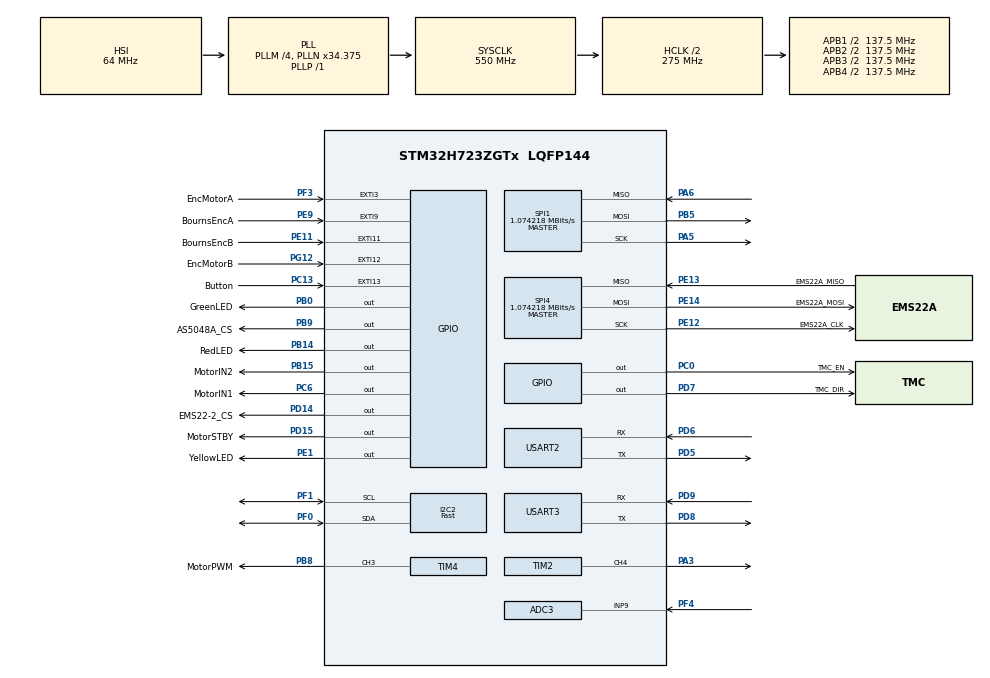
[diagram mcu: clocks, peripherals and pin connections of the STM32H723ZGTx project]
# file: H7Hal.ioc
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ADC3.Channel-6\#ChannelRegularConversion=ADC_CHANNEL_9
ADC3.ContinuousConvMode=ENABLE
ADC3.ConversionDataManagement=ADC_CONVERSIONDATA_DMA_CIRCULAR
ADC3.DMAContinuousRequests=ENABLE
ADC3.NbrOfConversionFlag=1
ADC3.OffsetNumber-6\#ChannelRegularConversion=ADC_OFFSET_NONE
ADC3.OffsetSign-6\#ChannelRegularConversion=ADC3_OFFSET_SIGN_NEGATIVE
ADC3.Rank-6\#ChannelRegularConversion=1
ADC3.SamplingTime-6\#ChannelRegularConversion=ADC3_SAMPLETIME_2CYCLES_5
CORTEX_M7.default_mode_Activation=1
Dma.ADC3.0.Direction=DMA_PERIPH_TO_MEMORY
Dma.ADC3.0.EventEnable=DISABLE
Dma.ADC3.0.FIFOMode=DMA_FIFOMODE_DISABLE
Dma.ADC3.0.Instance=DMA1_Stream0
Dma.ADC3.0.MemDataAlignment=DMA_MDATAALIGN_HALFWORD
Dma.ADC3.0.MemInc=DMA_MINC_ENABLE
Dma.ADC3.0.Mode=DMA_CIRCULAR
Dma.ADC3.0.PeriphDataAlignment=DMA_PDATAALIGN_HALFWORD
Dma.ADC3.0.PeriphInc=DMA_PINC_DISABLE
Dma.ADC3.0.Polarity=HAL_DMAMUX_REQ_GEN_RISING
Dma.ADC3.0.Priority=DMA_PRIORITY_LOW
Dma.ADC3.0.RequestNumber=1
Dma.ADC3.0.SignalID=NONE
Dma.ADC3.0.SyncEnable=DISABLE
Dma.ADC3.0.SyncPolarity=HAL_DMAMUX_SYNC_NO_EVENT
Dma.ADC3.0.SyncRequestNumber=1
Dma.ADC3.0.SyncSignalID=NONE
Dma.Request0=ADC3
Dma.Request1=TIM2_CH4
Dma.TIM2_CH4.1.Direction=DMA_MEMORY_TO_PERIPH
Dma.TIM2_CH4.1.EventEnable=DISABLE
Dma.TIM2_CH4.1.FIFOMode=DMA_FIFOMODE_DISABLE
Dma.TIM2_CH4.1.Instance=DMA1_Stream1
Dma.TIM2_CH4.1.MemDataAlignment=DMA_MDATAALIGN_HALFWORD
Dma.TIM2_CH4.1.MemInc=DMA_MINC_ENABLE
Dma.TIM2_CH4.1.Mode=DMA_NORMAL
Dma.TIM2_CH4.1.PeriphDataAlignment=DMA_PDATAALIGN_HALFWORD
Dma.TIM2_CH4.1.PeriphInc=DMA_PINC_DISABLE
Dma.TIM2_CH4.1.Polarity=HAL_DMAMUX_REQ_GEN_RISING
Dma.TIM2_CH4.1.Priority=DMA_PRIORITY_LOW
Dma.TIM2_CH4.1.RequestNumber=1
Dma.TIM2_CH4.1.SignalID=NONE
Dma.TIM2_CH4.1.SyncEnable=DISABLE
Dma.TIM2_CH4.1.SyncPolarity=HAL_DMAMUX_SYNC_NO_EVENT
Dma.TIM2_CH4.1.SyncRequestNumber=1
Dma.TIM2_CH4.1.SyncSignalID=NONE
I2C2.CustomTiming=Disabled
I2C2.I2C_Fall_Time=20
I2C2.I2C_Rise_Time=100
I2C2.I2C_Speed_Mode=I2C_Fast
I2C2.Timing=0x10D02475
Mcu.Family=STM32H7
Mcu.Name=STM32H723ZGTx
Mcu.Package=LQFP144
NUCLEO-H723ZG.LD1=false
NUCLEO-H723ZG.LD3=false
NVIC.ADC3_IRQn=true\:0\:0\:false\:false\:true\:true\:true\:true
NVIC.DMA1_Stream0_IRQn=true\:0\:0\:false\:false\:true\:false\:true\:true
NVIC.DMA1_Stream1_IRQn=true\:0\:0\:false\:false\:true\:false\:true\:true
NVIC.EXTI15_10_IRQn=true\:0\:0\:false\:false\:true\:true\:true\:true
NVIC.EXTI3_IRQn=true\:0\:0\:false\:false\:true\:true\:true\:true
NVIC.EXTI9_5_IRQn=true\:0\:0\:false\:false\:true\:true\:true\:true
NVIC.PriorityGroup=NVIC_PRIORITYGROUP_4
PA13(JTMS/SWDIO).GPIO_Label=SWDIO
PA13(JTMS/SWDIO).Mode=Trace_Asynchronous_SW
PA13(JTMS/SWDIO).Signal=DEBUG_JTMS-SWDIO
PA14(JTCK/SWCLK).GPIO_Label=SWCLK
PA14(JTCK/SWCLK).Mode=Trace_Asynchronous_SW
PA14(JTCK/SWCLK).Signal=DEBUG_JTCK-SWCLK
PA3.GPIO_ModeDefaultPP=GPIO_MODE_AF_PP
PA3.GPIO_PuPd=GPIO_NOPULL
PA3.GPIO_Speed=GPIO_SPEED_FREQ_VERY_HIGH
PA3.Signal=S_TIM2_CH4
PA5.Mode=Full_Duplex_Master
PA5.Signal=SPI1_SCK
PA6.Mode=Full_Duplex_Master
PA6.Signal=SPI1_MISO
PB0.GPIO_Label=GreenLED
PB0.Signal=GPIO_Output
PB14.GPIO_Label=RedLED
PB14.Signal=GPIO_Output
PB15.GPIO_Label=MotorIN2
PB15.Signal=GPIO_Output
PB3(JTDO/TRACESWO).Mode=Trace_Asynchronous_SW
PB3(JTDO/TRACESWO).Signal=DEBUG_JTDO-SWO
PB5.Mode=Full_Duplex_Master
PB5.Signal=SPI1_MOSI
PB8.GPIO_Label=MotorPWM
PB8.Signal=S_TIM4_CH3
PB9.GPIO_Label=AS5048A_CS
PB9.PinState=GPIO_PIN_SET
PB9.Signal=GPIO_Output
PC0.GPIO_Label=TMC_EN
PC0.Signal=GPIO_Output
PC13.GPIO_Label=Button
PC13.GPIO_PuPd=GPIO_PULLDOWN
PC13.Signal=GPXTI13
PC14-OSC32_IN.Signal=RCC_OSC32_IN
PC15-OSC32_OUT.Signal=RCC_OSC32_OUT
PC6.GPIO_Label=MotorIN1
PC6.Signal=GPIO_Output
PD14.GPIO_Label=EMS22-2_CS
PD14.PinState=GPIO_PIN_SET
PD14.Signal=GPIO_Output
PD15.GPIO_Label=MotorSTBY
PD15.Signal=GPIO_Output
PD5.Mode=Asynchronous
PD5.Signal=USART2_TX
PD6.Mode=Asynchronous
PD6.Signal=USART2_RX
PD7.GPIO_Label=TMC_DIR
PD7.Signal=GPIO_Output
PD8.Mode=Asynchronous
PD8.Signal=USART3_TX
PD9.Mode=Asynchronous
PD9.Signal=USART3_RX
PE1.GPIO_Label=YellowLED
PE1.Signal=GPIO_Output
PE11.GPIO_Label=BournsEncB
PE11.GPIO_ModeDefaultEXTI=GPIO_MODE_IT_RISING_FALLING
PE11.GPIO_PuPd=GPIO_PULLDOWN
PE11.Signal=GPXTI11
PE12.GPIO_Label=EMS22A_CLK
PE12.Mode=Full_Duplex_Master
PE12.Signal=SPI4_SCK
PE13.GPIO_Label=EMS22A_MISO
PE13.Mode=Full_Duplex_Master
PE13.Signal=SPI4_MISO
PE14.GPIO_Label=EMS22A_MOSI
PE14.Mode=Full_Duplex_Master
PE14.Signal=SPI4_MOSI
PE9.GPIO_Label=BournsEncA
PE9.GPIO_ModeDefaultEXTI=GPIO_MODE_IT_RISING_FALLING
PE9.GPIO_PuPd=GPIO_PULLDOWN
PE9.Signal=GPXTI9
PF0.Mode=I2C
PF0.Signal=I2C2_SDA
PF1.Mode=I2C
PF1.Signal=I2C2_SCL
PF3.GPIO_Label=EncMotorA
PF3.GPIO_ModeDefaultEXTI=GPIO_MODE_IT_RISING_FALLING
PF3.GPIO_PuPd=GPIO_PULLDOWN
PF3.Signal=GPXTI3
PF4.Mode=IN9-Single-Ended
PF4.Signal=ADC3_INP9
PG12.GPIO_Label=EncMotorB
PG12.GPIO_ModeDefaultEXTI=GPIO_MODE_IT_RISING_FALLING
PG12.GPIO_PuPd=GPIO_PULLDOWN
PG12.Signal=GPXTI12
ProjectManager.HeapSize=0x200
ProjectManager.StackSize=0x400
ProjectManager.TargetToolchain=CMake
RCC.ADCFreq_Value=96000000
RCC.APB1Freq_Value=137500000
RCC.APB2Freq_Value=137500000
RCC.APB3Freq_Value=137500000
RCC.APB4Freq_Value=137500000
RCC.CortexFreq_Value=550000000
RCC.D1PPRE=RCC_APB3_DIV2
RCC.D2PPRE1=RCC_APB1_DIV2
RCC.D2PPRE2=RCC_APB2_DIV2
RCC.D3PPRE=RCC_APB4_DIV2
RCC.DIVM1=4
RCC.DIVM2=4
RCC.DIVN1=34
RCC.DIVN2=12
RCC.DIVP1=1
RCC.DIVQ1=4
RCC.HCLKFreq_Value=275000000
RCC.HPRE=RCC_HCLK_DIV2
RCC.HSE_VALUE=8000000
RCC.PLL2FRACN=0
RCC.PLL3FRACN=0
RCC.PLLFRACN=3072
RCC.SYSCLKFreq_VALUE=550000000
RCC.SYSCLKSource=RCC_SYSCLKSOURCE_PLLCLK
RCC.USBCLockSelection=RCC_USBCLKSOURCE_HSI48
RCC.USBFreq_Value=48000000
SH.S_TIM2_CH4.0=TIM2_CH4,Output Compare4 CH4
SH.S_TIM4_CH3.0=TIM4_CH3,PWM Generation3 CH3
SPI1.BaudRatePrescaler=SPI_BAUDRATEPRESCALER_128
SPI1.CLKPhase=SPI_PHASE_2EDGE
SPI1.CLKPolarity=SPI_POLARITY_LOW
SPI1.CalculateBaudRate=1.074218 MBits/s
SPI1.DataSize=SPI_DATASIZE_16BIT
SPI1.Direction=SPI_DIRECTION_2LINES
SPI1.MasterKeepIOState=SPI_MASTER_KEEP_IO_STATE_ENABLE
SPI1.Mode=SPI_MODE_MASTER
SPI1.NSSPMode=SPI_NSS_PULSE_DISABLE
SPI1.VirtualType=VM_MASTER
SPI4.BaudRatePrescaler=SPI_BAUDRATEPRESCALER_128
SPI4.CLKPhase=SPI_PHASE_2EDGE
SPI4.CLKPolarity=SPI_POLARITY_HIGH
SPI4.CalculateBaudRate=1.074218 MBits/s
SPI4.DataSize=SPI_DATASIZE_16BIT
SPI4.Direction=SPI_DIRECTION_2LINES
SPI4.MasterKeepIOState=SPI_MASTER_KEEP_IO_STATE_ENABLE
SPI4.Mode=SPI_MODE_MASTER
SPI4.NSSPMode=SPI_NSS_PULSE_DISABLE
SPI4.VirtualType=VM_MASTER
TIM2.AutoReloadPreload=TIM_AUTORELOAD_PRELOAD_ENABLE
TIM2.Channel-Output\ Compare4\ CH4=TIM_CHANNEL_4
TIM2.OC4Preload=DISABLE
TIM2.OCMode_4=TIM_OCMODE_TOGGLE
TIM2.Period=1017
TIM2.Prescaler=26
TIM2.Pulse-Output\ Compare4\ CH4=509
TIM2.TIM_MasterOutputTrigger=TIM_TRGO_RESET
TIM4.AutoReloadPreload=TIM_AUTORELOAD_PRELOAD_DISABLE
TIM4.Channel-PWM\ Generation3\ CH3=TIM_CHANNEL_3
TIM4.Period=1000
TIM4.Prescaler=10
USART2.VirtualMode-Asynchronous=VM_ASYNC
USART3.VirtualMode-Asynchronous=VM_ASYNC
VP_MEMORYMAP_VS_MEMORYMAP.Mode=CurAppReg
VP_NUCLEO-H723ZG_VS_BSP_COMMON.Mode=COMMON
VP_TIM2_VS_ClockSourceINT.Mode=Internal
VP_TIM4_VS_ClockSourceINT.Mode=Internal
board=NUCLEO-H723ZG

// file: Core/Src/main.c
/* USER CODE BEGIN Header */
/**
  ******************************************************************************
  * @file           : main.c
  * @brief          : Main program body
  ******************************************************************************
  * @attention
  *
  * Copyright (c) 2026 STMicroelectronics.
  * All rights reserved.
  *
  * This software is licensed under terms that can be found in the LICENSE file
  * in the root directory of this software component.
  * If no LICENSE file comes with this software, it is provided AS-IS.
  *
  ******************************************************************************
  */
/* USER CODE END Header */
#include "main.h"
#include "MotorControl.h"

/* USER CODE BEGIN PD */
#define ADC_LEN 1000
/* USER CODE END PD */

ADC_HandleTypeDef hadc3;
DMA_HandleTypeDef hdma_adc3;

I2C_HandleTypeDef hi2c2;

SPI_HandleTypeDef hspi1;
SPI_HandleTypeDef hspi4;

TIM_HandleTypeDef htim2;
TIM_HandleTypeDef htim4;
DMA_HandleTypeDef hdma_tim2_up;

UART_HandleTypeDef huart2;
UART_HandleTypeDef huart3;

/* USER CODE BEGIN PV */

uint16_t adc_buf[ADC_LEN];
PIDController PID1 = {
    .Kp = 1.0f,
    .Ki = 0.5f,
    .Kd = 0.02f,
    .tau = 0.02f,
    .limMin = -1000.0f,
    .limMax = 1000.0f,
    .limMinInt = -300.0f,
    .limMaxInt = 2300.0f,
    .T = 0.01f, // Sample time in seconds
};
VL6180X_HandleTypeDef vl6180x = {
    .hi2c = &hi2c2,
    .addr = VL6180X_DEFAULT_ADDRESS,
    .mode = RANGE_SINGLE,
};
PIDMOTOR_HandleTypeDef DCMotor=DCMotor(&PID1,&htim4,TIM_CHANNEL_3,MotorIN1_GPIO_Port,MotorIN1_Pin,
                                        MotorIN2_GPIO_Port,MotorIN2_Pin,MotorSTBY_GPIO_Port,MotorSTBY_Pin);
IncEnc_HandleTypeDef Bourns=EXTINT(BournsEncA_GPIO_Port,BournsEncA_Pin,BournsEncB_GPIO_Port,BournsEncB_Pin);
IncEnc_HandleTypeDef MotorEnc=EXTINT(EncMotorA_GPIO_Port,EncMotorA_Pin,EncMotorB_GPIO_Port,EncMotorB_Pin);
AS5600_HandleTypeDef encoder1;
MPU6050_HandleTypeDef MPU1;
SPI_Encoder_HandleTypeDef EMS22_2;
SPI_Encoder_HandleTypeDef AS5048A={
    .hspi = &hspi1,
    .cs_port = AS5048A_CS_GPIO_Port,
    .cs_pin = AS5048A_CS_Pin,
};

/* USER CODE END PV */

void SystemClock_Config(void);
static void MPU_Config(void);
static void MX_GPIO_Init(void);
static void MX_DMA_Init(void);
static void MX_I2C2_Init(void);
static void MX_ADC3_Init(void);
static void MX_USART3_UART_Init(void);
static void MX_SPI4_Init(void);
static void MX_SPI1_Init(void);
static void MX_TIM4_Init(void);
static void MX_TIM2_Init(void);
static void MX_USART2_UART_Init(void);

/* USER CODE BEGIN 0 */
void I2C_Scan(void)
{
    printf("Scanning I2C bus...\r\n");

    for (uint8_t addr = 1; addr < 128; addr++)
    {
        if (HAL_I2C_IsDeviceReady(&hi2c2, addr << 1, 2, 10) == HAL_OK)
        {
            printf("Found device at 0x%02X\r\n", addr);
        }

    }

    printf("Scan complete.\r\n");
}

void SWO_Init(void)
{
    /* Enable trace */
    CoreDebug->DEMCR |= CoreDebug_DEMCR_TRCENA_Msk;

    /* Unlock ITM */
    ITM->LAR = 0xC5ACCE55;

    /* Enable ITM */
    ITM->TCR = ITM_TCR_ITMENA_Msk;

    /* Enable stimulus port 0 */
    ITM->TER = (1UL << 0);
}

int _write(int fd, char* ptr, int len){
	HAL_StatusTypeDef hstatus;
	if(fd ==1 || fd == 2){
		hstatus=HAL_UART_Transmit(&huart3, (uint8_t *) ptr, len, HAL_MAX_DELAY);
		if(hstatus == HAL_OK)
			return len;
		else
			return -1;
	}
	return -1;
}

uint32_t map_encoder(uint32_t input, uint32_t in_max, uint32_t out_max)
{
    return (input * out_max) / in_max;   // simplified since both mins are 0
}

void HAL_GPIO_EXTI_Callback(uint16_t GPIO_Pin)
{
  switch (GPIO_Pin) {
    case GPIO_PIN_13:
      HAL_GPIO_TogglePin(RedLED_GPIO_Port, RedLED_Pin);
      break;

    case BournsEncB_Pin:
      IncEncoder_EXTI(&Bourns);
      break;

    case BournsEncA_Pin:
      IncEncoder_EXTI(&Bourns);
      break;

    case EncMotorA_Pin:
      IncEncoder_EXTI(&MotorEnc);
      break;

    case EncMotorB_Pin:
      IncEncoder_EXTI(&MotorEnc);
      break;

    default:
      break;
  }

}
/* USER CODE END 0 */

int main(void)
{

  /* MPU Configuration--------------------------------------------------------*/
  MPU_Config();

  /* MCU Configuration--------------------------------------------------------*/

  /* Reset of all peripherals, Initializes the Flash interface and the Systick. */
  HAL_Init();

  /* Configure the system clock */
  SystemClock_Config();

  /* Initialize all configured peripherals */
  MX_GPIO_Init();
  MX_DMA_Init();
  MX_I2C2_Init();
  MX_ADC3_Init();
  MX_USART3_UART_Init();
  MX_SPI4_Init();
  MX_SPI1_Init();
  MX_TIM4_Init();
  MX_TIM2_Init();
  MX_USART2_UART_Init();
  /* USER CODE BEGIN 2 */
  SWO_Init();
  VL6180X_Init(&vl6180x);
  Bourns.PrevState =
      (HAL_GPIO_ReadPin(Bourns.portA, Bourns.pinA) << 1) |
       HAL_GPIO_ReadPin(Bourns.portB, Bourns.pinB);

//  HAL_ADC_Start_DMA(&hadc3, (uint32_t*)adc_buf, ADC_LEN);
  HAL_StatusTypeDef status;

  status = HAL_ADC_Start_DMA(&hadc3, (uint32_t *)adc_buf, ADC_LEN);
  printf("ADC Start Status = %d\r\n", status);
  printf("ADC Value = %u\r\n", adc_buf[0]);

  I2C_Scan();
  PIDController_Init(&PID1);
  DCMotor_PIDInit(&DCMotor);
  Bourns_Encoder_Init(&EMS22_2, &hspi4, EMS22_2_CS_GPIO_Port, EMS22_2_CS_Pin, 2);
  MPU6050CInit(&MPU1, &hi2c2,MAINADDR);
  AS5600_Init(&encoder1, &hi2c2, AS5600_ADDR, 0, 0, 0);
  AS5600_Status_MagnetDetect(&encoder1);

  HAL_TIM_OC_Start(&htim2, TIM_CHANNEL_4);

  HAL_Delay(5000);

  /* USER CODE END 2 */

  /* Infinite loop */
  /* USER CODE BEGIN WHILE */

  while (1)
  {
     VL6180X_Read(&vl6180x);
     printf("VL6180X Range: %d mm\r\n", vl6180x.range_mm);
    // AS5048A_ReadPosition(&AS5048A);
    // Bourns_Encoder_ReadAll(&EMS22_2);
    // AS5600_Read(&encoder1, AS5600_ANGLE1);
    // uint16_t scaled = map_encoder(EMS22_2.data[0], 1024, 4098);
    // MPU6050ReadAccelGyro(&MPU1);
    // DCMotor_PID( &DCMotor,(float)MotorEnc.Pos,Bourns.Pos);

    // printf("AS5048A Position: %f ", AS5048A.position/45.508f);
    // printf("Position1: %u Position2: %u ", EMS22_2.data[0], EMS22_2.data[1]);
    // //printf("Position: %u\r\n", position);
	  // printf("EncoderAbs: %d EncoderMag: %d EncoderMot: %d Sc: %d",Bourns.Pos,encoder1.angle,MotorEnc.Pos,scaled);
    // printf("Za: %f  Ya: %f  Xa: %f  Zg: %f  Yg: %f  Xg: %f",((MPU1.ZACCEL)/8192.0f),((MPU1.YACCEL)/8192.0f),((MPU1.XACCEL)/8192.0f),
    // 														((MPU1.ZGYRO)/65.5f),((MPU1.YGYRO)/65.5f),((MPU1.XGYRO)/65.5f));
    // printf("\r\n");

      // __HAL_TIM_SET_AUTORELOAD(&htim2, (1017*22));
      // printf("22 ARR\r\n");
      // HAL_Delay(5000);

      // __HAL_TIM_SET_AUTORELOAD(&htim2, (1017*24));
      // printf("24 ARR\r\n");
      // HAL_Delay(5000);

      //  __HAL_TIM_SET_AUTORELOAD(&htim2, (1017*27));
      // printf("27 ARR\r\n");
      // HAL_Delay(5000);

      // __HAL_TIM_SET_AUTORELOAD(&htim2, (1017*30));
      // printf("30 ARR\r\n");
      // HAL_Delay(5000);

      // __HAL_TIM_SET_AUTORELOAD(&htim2, (550));
      // printf("550 ARR\r\n");
      // HAL_Delay(5000);

    // printf("Target: %d Error: %d EncoderMot: %d pidOut: %f", Bourns.Pos, Bourns.Pos - MotorEnc.Pos, MotorEnc.Pos, PID1.out);
    // printf("\r\n");
    /* USER CODE END WHILE */

  }
}

void SystemClock_Config(void)
{
  RCC_OscInitTypeDef RCC_OscInitStruct = {0};
  RCC_ClkInitTypeDef RCC_ClkInitStruct = {0};

  /** Supply configuration update enable
  */
  HAL_PWREx_ConfigSupply(PWR_LDO_SUPPLY);

  /** Configure the main internal regulator output voltage
  */
  __HAL_PWR_VOLTAGESCALING_CONFIG(PWR_REGULATOR_VOLTAGE_SCALE0);

  while(!__HAL_PWR_GET_FLAG(PWR_FLAG_VOSRDY)) {}

  /** Initializes the RCC Oscillators according to the specified parameters
  * in the RCC_OscInitTypeDef structure.
  */
  RCC_OscInitStruct.OscillatorType = RCC_OSCILLATORTYPE_HSI;
  RCC_OscInitStruct.HSIState = RCC_HSI_DIV1;
  RCC_OscInitStruct.HSICalibrationValue = 64;
  RCC_OscInitStruct.PLL.PLLState = RCC_PLL_ON;
  RCC_OscInitStruct.PLL.PLLSource = RCC_PLLSOURCE_HSI;
  RCC_OscInitStruct.PLL.PLLM = 4;
  RCC_OscInitStruct.PLL.PLLN = 34;
  RCC_OscInitStruct.PLL.PLLP = 1;
  RCC_OscInitStruct.PLL.PLLQ = 4;
  RCC_OscInitStruct.PLL.PLLR = 2;
  RCC_OscInitStruct.PLL.PLLRGE = RCC_PLL1VCIRANGE_3;
  RCC_OscInitStruct.PLL.PLLVCOSEL = RCC_PLL1VCOWIDE;
  RCC_OscInitStruct.PLL.PLLFRACN = 3072;
  if (HAL_RCC_OscConfig(&RCC_OscInitStruct) != HAL_OK)
  {
    Error_Handler();
  }

  /** Initializes the CPU, AHB and APB buses clocks
  */
  RCC_ClkInitStruct.ClockType = RCC_CLOCKTYPE_HCLK|RCC_CLOCKTYPE_SYSCLK
                              |RCC_CLOCKTYPE_PCLK1|RCC_CLOCKTYPE_PCLK2
                              |RCC_CLOCKTYPE_D3PCLK1|RCC_CLOCKTYPE_D1PCLK1;
  RCC_ClkInitStruct.SYSCLKSource = RCC_SYSCLKSOURCE_PLLCLK;
  RCC_ClkInitStruct.SYSCLKDivider = RCC_SYSCLK_DIV1;
  RCC_ClkInitStruct.AHBCLKDivider = RCC_HCLK_DIV2;
  RCC_ClkInitStruct.APB3CLKDivider = RCC_APB3_DIV2;
  RCC_ClkInitStruct.APB1CLKDivider = RCC_APB1_DIV2;
  RCC_ClkInitStruct.APB2CLKDivider = RCC_APB2_DIV2;
  RCC_ClkInitStruct.APB4CLKDivider = RCC_APB4_DIV2;

  if (HAL_RCC_ClockConfig(&RCC_ClkInitStruct, FLASH_LATENCY_3) != HAL_OK)
  {
    Error_Handler();
  }
}

static void MX_ADC3_Init(void)
{

  ADC_ChannelConfTypeDef sConfig = {0};

  /** Common config
  */
  hadc3.Instance = ADC3;
  hadc3.Init.ClockPrescaler = ADC_CLOCK_ASYNC_DIV1;
  hadc3.Init.Resolution = ADC_RESOLUTION_12B;
  hadc3.Init.DataAlign = ADC3_DATAALIGN_RIGHT;
  hadc3.Init.ScanConvMode = ADC_SCAN_DISABLE;
  hadc3.Init.EOCSelection = ADC_EOC_SINGLE_CONV;
  hadc3.Init.LowPowerAutoWait = DISABLE;
  hadc3.Init.ContinuousConvMode = ENABLE;
  hadc3.Init.NbrOfConversion = 1;
  hadc3.Init.DiscontinuousConvMode = DISABLE;
  hadc3.Init.ExternalTrigConv = ADC_SOFTWARE_START;
  hadc3.Init.ExternalTrigConvEdge = ADC_EXTERNALTRIGCONVEDGE_NONE;
  hadc3.Init.DMAContinuousRequests = ENABLE;
  hadc3.Init.SamplingMode = ADC_SAMPLING_MODE_NORMAL;
  hadc3.Init.ConversionDataManagement = ADC_CONVERSIONDATA_DMA_CIRCULAR;
  hadc3.Init.Overrun = ADC_OVR_DATA_PRESERVED;
  hadc3.Init.LeftBitShift = ADC_LEFTBITSHIFT_NONE;
  hadc3.Init.OversamplingMode = DISABLE;
  hadc3.Init.Oversampling.Ratio = ADC3_OVERSAMPLING_RATIO_2;
  if (HAL_ADC_Init(&hadc3) != HAL_OK)
  {
    Error_Handler();
  }

  /** Configure Regular Channel
  */
  sConfig.Channel = ADC_CHANNEL_9;
  sConfig.Rank = ADC_REGULAR_RANK_1;
  sConfig.SamplingTime = ADC3_SAMPLETIME_2CYCLES_5;
  sConfig.SingleDiff = ADC_SINGLE_ENDED;
  sConfig.OffsetNumber = ADC_OFFSET_NONE;
  sConfig.Offset = 0;
  sConfig.OffsetSign = ADC3_OFFSET_SIGN_NEGATIVE;
  if (HAL_ADC_ConfigChannel(&hadc3, &sConfig) != HAL_OK)
  {
    Error_Handler();
  }

}

static void MX_I2C2_Init(void)
{

  hi2c2.Instance = I2C2;
  hi2c2.Init.Timing = 0x10D02475;
  hi2c2.Init.OwnAddress1 = 0;
  hi2c2.Init.AddressingMode = I2C_ADDRESSINGMODE_7BIT;
  hi2c2.Init.DualAddressMode = I2C_DUALADDRESS_DISABLE;
  hi2c2.Init.OwnAddress2 = 0;
  hi2c2.Init.OwnAddress2Masks = I2C_OA2_NOMASK;
  hi2c2.Init.GeneralCallMode = I2C_GENERALCALL_DISABLE;
  hi2c2.Init.NoStretchMode = I2C_NOSTRETCH_DISABLE;
  if (HAL_I2C_Init(&hi2c2) != HAL_OK)
  {
    Error_Handler();
  }

  /** Configure Analogue filter
  */
  if (HAL_I2CEx_ConfigAnalogFilter(&hi2c2, I2C_ANALOGFILTER_ENABLE) != HAL_OK)
  {
    Error_Handler();
  }

  /** Configure Digital filter
  */
  if (HAL_I2CEx_ConfigDigitalFilter(&hi2c2, 0) != HAL_OK)
  {
    Error_Handler();
  }

}

static void MX_SPI1_Init(void)
{

  /* SPI1 parameter configuration*/
  hspi1.Instance = SPI1;
  hspi1.Init.Mode = SPI_MODE_MASTER;
  hspi1.Init.Direction = SPI_DIRECTION_2LINES;
  hspi1.Init.DataSize = SPI_DATASIZE_16BIT;
  hspi1.Init.CLKPolarity = SPI_POLARITY_LOW;
  hspi1.Init.CLKPhase = SPI_PHASE_2EDGE;
  hspi1.Init.NSS = SPI_NSS_SOFT;
  hspi1.Init.BaudRatePrescaler = SPI_BAUDRATEPRESCALER_128;
  hspi1.Init.FirstBit = SPI_FIRSTBIT_MSB;
  hspi1.Init.TIMode = SPI_TIMODE_DISABLE;
  hspi1.Init.CRCCalculation = SPI_CRCCALCULATION_DISABLE;
  hspi1.Init.CRCPolynomial = 0x0;
  hspi1.Init.NSSPMode = SPI_NSS_PULSE_DISABLE;
  hspi1.Init.NSSPolarity = SPI_NSS_POLARITY_LOW;
  hspi1.Init.FifoThreshold = SPI_FIFO_THRESHOLD_01DATA;
  hspi1.Init.TxCRCInitializationPattern = SPI_CRC_INITIALIZATION_ALL_ZERO_PATTERN;
  hspi1.Init.RxCRCInitializationPattern = SPI_CRC_INITIALIZATION_ALL_ZERO_PATTERN;
  hspi1.Init.MasterSSIdleness = SPI_MASTER_SS_IDLENESS_00CYCLE;
  hspi1.Init.MasterInterDataIdleness = SPI_MASTER_INTERDATA_IDLENESS_00CYCLE;
  hspi1.Init.MasterReceiverAutoSusp = SPI_MASTER_RX_AUTOSUSP_DISABLE;
  hspi1.Init.MasterKeepIOState = SPI_MASTER_KEEP_IO_STATE_ENABLE;
  hspi1.Init.IOSwap = SPI_IO_SWAP_DISABLE;
  if (HAL_SPI_Init(&hspi1) != HAL_OK)
  {
    Error_Handler();
  }

}

static void MX_SPI4_Init(void)
{

  /* SPI4 parameter configuration*/
  hspi4.Instance = SPI4;
  hspi4.Init.Mode = SPI_MODE_MASTER;
  hspi4.Init.Direction = SPI_DIRECTION_2LINES;
  hspi4.Init.DataSize = SPI_DATASIZE_16BIT;
  hspi4.Init.CLKPolarity = SPI_POLARITY_HIGH;
  hspi4.Init.CLKPhase = SPI_PHASE_2EDGE;
  hspi4.Init.NSS = SPI_NSS_SOFT;
  hspi4.Init.BaudRatePrescaler = SPI_BAUDRATEPRESCALER_128;
  hspi4.Init.FirstBit = SPI_FIRSTBIT_MSB;
  hspi4.Init.TIMode = SPI_TIMODE_DISABLE;
  hspi4.Init.CRCCalculation = SPI_CRCCALCULATION_DISABLE;
  hspi4.Init.CRCPolynomial = 0x0;
  hspi4.Init.NSSPMode = SPI_NSS_PULSE_DISABLE;
  hspi4.Init.NSSPolarity = SPI_NSS_POLARITY_LOW;
  hspi4.Init.FifoThreshold = SPI_FIFO_THRESHOLD_01DATA;
  hspi4.Init.TxCRCInitializationPattern = SPI_CRC_INITIALIZATION_ALL_ZERO_PATTERN;
  hspi4.Init.RxCRCInitializationPattern = SPI_CRC_INITIALIZATION_ALL_ZERO_PATTERN;
  hspi4.Init.MasterSSIdleness = SPI_MASTER_SS_IDLENESS_00CYCLE;
  hspi4.Init.MasterInterDataIdleness = SPI_MASTER_INTERDATA_IDLENESS_00CYCLE;
  hspi4.Init.MasterReceiverAutoSusp = SPI_MASTER_RX_AUTOSUSP_DISABLE;
  hspi4.Init.MasterKeepIOState = SPI_MASTER_KEEP_IO_STATE_ENABLE;
  hspi4.Init.IOSwap = SPI_IO_SWAP_DISABLE;
  if (HAL_SPI_Init(&hspi4) != HAL_OK)
  {
    Error_Handler();
  }

}

static void MX_TIM2_Init(void)
{

  TIM_ClockConfigTypeDef sClockSourceConfig = {0};
  TIM_MasterConfigTypeDef sMasterConfig = {0};
  TIM_OC_InitTypeDef sConfigOC = {0};

  htim2.Instance = TIM2;
  htim2.Init.Prescaler = 26;
  htim2.Init.CounterMode = TIM_COUNTERMODE_UP;
  htim2.Init.Period = 1017;
  htim2.Init.ClockDivision = TIM_CLOCKDIVISION_DIV1;
  htim2.Init.AutoReloadPreload = TIM_AUTORELOAD_PRELOAD_ENABLE;
  if (HAL_TIM_Base_Init(&htim2) != HAL_OK)
  {
    Error_Handler();
  }
  sClockSourceConfig.ClockSource = TIM_CLOCKSOURCE_INTERNAL;
  if (HAL_TIM_ConfigClockSource(&htim2, &sClockSourceConfig) != HAL_OK)
  {
    Error_Handler();
  }
  if (HAL_TIM_OC_Init(&htim2) != HAL_OK)
  {
    Error_Handler();
  }
  sMasterConfig.MasterOutputTrigger = TIM_TRGO_RESET;
  sMasterConfig.MasterSlaveMode = TIM_MASTERSLAVEMODE_DISABLE;
  if (HAL_TIMEx_MasterConfigSynchronization(&htim2, &sMasterConfig) != HAL_OK)
  {
    Error_Handler();
  }
  sConfigOC.OCMode = TIM_OCMODE_TOGGLE;
  sConfigOC.Pulse = 509;
  sConfigOC.OCPolarity = TIM_OCPOLARITY_HIGH;
  sConfigOC.OCFastMode = TIM_OCFAST_DISABLE;
  if (HAL_TIM_OC_ConfigChannel(&htim2, &sConfigOC, TIM_CHANNEL_4) != HAL_OK)
  {
    Error_Handler();
  }
  HAL_TIM_MspPostInit(&htim2);

}

static void MX_TIM4_Init(void)
{

  TIM_ClockConfigTypeDef sClockSourceConfig = {0};
  TIM_MasterConfigTypeDef sMasterConfig = {0};
  TIM_OC_InitTypeDef sConfigOC = {0};

  htim4.Instance = TIM4;
  htim4.Init.Prescaler = 10;
  htim4.Init.CounterMode = TIM_COUNTERMODE_UP;
  htim4.Init.Period = 1000;
  htim4.Init.ClockDivision = TIM_CLOCKDIVISION_DIV1;
  htim4.Init.AutoReloadPreload = TIM_AUTORELOAD_PRELOAD_DISABLE;
  if (HAL_TIM_Base_Init(&htim4) != HAL_OK)
  {
    Error_Handler();
  }
  sClockSourceConfig.ClockSource = TIM_CLOCKSOURCE_INTERNAL;
  if (HAL_TIM_ConfigClockSource(&htim4, &sClockSourceConfig) != HAL_OK)
  {
    Error_Handler();
  }
  if (HAL_TIM_PWM_Init(&htim4) != HAL_OK)
  {
    Error_Handler();
  }
  sMasterConfig.MasterOutputTrigger = TIM_TRGO_RESET;
  sMasterConfig.MasterSlaveMode = TIM_MASTERSLAVEMODE_DISABLE;
  if (HAL_TIMEx_MasterConfigSynchronization(&htim4, &sMasterConfig) != HAL_OK)
  {
    Error_Handler();
  }
  sConfigOC.OCMode = TIM_OCMODE_PWM1;
  sConfigOC.Pulse = 0;
  sConfigOC.OCPolarity = TIM_OCPOLARITY_HIGH;
  sConfigOC.OCFastMode = TIM_OCFAST_DISABLE;
  if (HAL_TIM_PWM_ConfigChannel(&htim4, &sConfigOC, TIM_CHANNEL_3) != HAL_OK)
  {
    Error_Handler();
  }
  HAL_TIM_MspPostInit(&htim4);

}

static void MX_USART2_UART_Init(void)
{

  huart2.Instance = USART2;
  huart2.Init.BaudRate = 115200;
  huart2.Init.WordLength = UART_WORDLENGTH_8B;
  huart2.Init.StopBits = UART_STOPBITS_1;
  huart2.Init.Parity = UART_PARITY_NONE;
  huart2.Init.Mode = UART_MODE_TX_RX;
  huart2.Init.HwFlowCtl = UART_HWCONTROL_NONE;
  huart2.Init.OverSampling = UART_OVERSAMPLING_16;
  huart2.Init.OneBitSampling = UART_ONE_BIT_SAMPLE_DISABLE;
  huart2.Init.ClockPrescaler = UART_PRESCALER_DIV1;
  huart2.AdvancedInit.AdvFeatureInit = UART_ADVFEATURE_NO_INIT;
  if (HAL_UART_Init(&huart2) != HAL_OK)
  {
    Error_Handler();
  }
  if (HAL_UARTEx_SetTxFifoThreshold(&huart2, UART_TXFIFO_THRESHOLD_1_8) != HAL_OK)
  {
    Error_Handler();
  }
  if (HAL_UARTEx_SetRxFifoThreshold(&huart2, UART_RXFIFO_THRESHOLD_1_8) != HAL_OK)
  {
    Error_Handler();
  }
  if (HAL_UARTEx_DisableFifoMode(&huart2) != HAL_OK)
  {
    Error_Handler();
  }

}

static void MX_USART3_UART_Init(void)
{

  huart3.Instance = USART3;
  huart3.Init.BaudRate = 115200;
  huart3.Init.WordLength = UART_WORDLENGTH_8B;
  huart3.Init.StopBits = UART_STOPBITS_1;
  huart3.Init.Parity = UART_PARITY_NONE;
  huart3.Init.Mode = UART_MODE_TX_RX;
  huart3.Init.HwFlowCtl = UART_HWCONTROL_NONE;
  huart3.Init.OverSampling = UART_OVERSAMPLING_16;
  huart3.Init.OneBitSampling = UART_ONE_BIT_SAMPLE_DISABLE;
  huart3.Init.ClockPrescaler = UART_PRESCALER_DIV1;
  huart3.AdvancedInit.AdvFeatureInit = UART_ADVFEATURE_NO_INIT;
  if (HAL_UART_Init(&huart3) != HAL_OK)
  {
    Error_Handler();
  }
  if (HAL_UARTEx_SetTxFifoThreshold(&huart3, UART_TXFIFO_THRESHOLD_1_8) != HAL_OK)
  {
    Error_Handler();
  }
  if (HAL_UARTEx_SetRxFifoThreshold(&huart3, UART_RXFIFO_THRESHOLD_1_8) != HAL_OK)
  {
    Error_Handler();
  }
  if (HAL_UARTEx_DisableFifoMode(&huart3) != HAL_OK)
  {
    Error_Handler();
  }

}

static void MX_DMA_Init(void)
{

  /* DMA controller clock enable */
  __HAL_RCC_DMA1_CLK_ENABLE();

  /* DMA interrupt init */
  /* DMA1_Stream0_IRQn interrupt configuration */
  HAL_NVIC_SetPriority(DMA1_Stream0_IRQn, 0, 0);
  HAL_NVIC_EnableIRQ(DMA1_Stream0_IRQn);
  /* DMA1_Stream2_IRQn interrupt configuration */
  HAL_NVIC_SetPriority(DMA1_Stream2_IRQn, 0, 0);
  HAL_NVIC_EnableIRQ(DMA1_Stream2_IRQn);

}

static void MX_GPIO_Init(void)
{
  GPIO_InitTypeDef GPIO_InitStruct = {0};

  /* GPIO Ports Clock Enable */
  __HAL_RCC_GPIOC_CLK_ENABLE();
  __HAL_RCC_GPIOF_CLK_ENABLE();
  __HAL_RCC_GPIOA_CLK_ENABLE();
  __HAL_RCC_GPIOB_CLK_ENABLE();
  __HAL_RCC_GPIOE_CLK_ENABLE();
  __HAL_RCC_GPIOD_CLK_ENABLE();
  __HAL_RCC_GPIOG_CLK_ENABLE();

  /*Configure GPIO pin Output Level */
  HAL_GPIO_WritePin(GPIOC, TMC_EN_Pin|MotorIN1_Pin, GPIO_PIN_RESET);

  /*Configure GPIO pin Output Level */
  HAL_GPIO_WritePin(GPIOB, GreenLED_Pin|RedLED_Pin|MotorIN2_Pin, GPIO_PIN_RESET);

  /*Configure GPIO pin Output Level */
  HAL_GPIO_WritePin(EMS22_2_CS_GPIO_Port, EMS22_2_CS_Pin, GPIO_PIN_SET);

  /*Configure GPIO pin Output Level */
  HAL_GPIO_WritePin(GPIOD, MotorSTBY_Pin|TMC_DIR_Pin, GPIO_PIN_RESET);

  /*Configure GPIO pin Output Level */
  HAL_GPIO_WritePin(AS5048A_CS_GPIO_Port, AS5048A_CS_Pin, GPIO_PIN_SET);

  /*Configure GPIO pin Output Level */
  HAL_GPIO_WritePin(YellowLED_GPIO_Port, YellowLED_Pin, GPIO_PIN_RESET);

  /*Configure GPIO pin : Button_Pin */
  GPIO_InitStruct.Pin = Button_Pin;
  GPIO_InitStruct.Mode = GPIO_MODE_IT_RISING;
  GPIO_InitStruct.Pull = GPIO_PULLDOWN;
  HAL_GPIO_Init(Button_GPIO_Port, &GPIO_InitStruct);

  /*Configure GPIO pin : EncMotorA_Pin */
  GPIO_InitStruct.Pin = EncMotorA_Pin;
  GPIO_InitStruct.Mode = GPIO_MODE_IT_RISING_FALLING;
  GPIO_InitStruct.Pull = GPIO_PULLDOWN;
  HAL_GPIO_Init(EncMotorA_GPIO_Port, &GPIO_InitStruct);

  /*Configure GPIO pins : TMC_EN_Pin MotorIN1_Pin */
  GPIO_InitStruct.Pin = TMC_EN_Pin|MotorIN1_Pin;
  GPIO_InitStruct.Mode = GPIO_MODE_OUTPUT_PP;
  GPIO_InitStruct.Pull = GPIO_NOPULL;
  GPIO_InitStruct.Speed = GPIO_SPEED_FREQ_LOW;
  HAL_GPIO_Init(GPIOC, &GPIO_InitStruct);

  /*Configure GPIO pins : GreenLED_Pin RedLED_Pin MotorIN2_Pin AS5048A_CS_Pin */
  GPIO_InitStruct.Pin = GreenLED_Pin|RedLED_Pin|MotorIN2_Pin|AS5048A_CS_Pin;
  GPIO_InitStruct.Mode = GPIO_MODE_OUTPUT_PP;
  GPIO_InitStruct.Pull = GPIO_NOPULL;
  GPIO_InitStruct.Speed = GPIO_SPEED_FREQ_LOW;
  HAL_GPIO_Init(GPIOB, &GPIO_InitStruct);

  /*Configure GPIO pins : BournsEncA_Pin BournsEncB_Pin */
  GPIO_InitStruct.Pin = BournsEncA_Pin|BournsEncB_Pin;
  GPIO_InitStruct.Mode = GPIO_MODE_IT_RISING_FALLING;
  GPIO_InitStruct.Pull = GPIO_PULLDOWN;
  HAL_GPIO_Init(GPIOE, &GPIO_InitStruct);

  /*Configure GPIO pins : EMS22_2_CS_Pin MotorSTBY_Pin TMC_DIR_Pin */
  GPIO_InitStruct.Pin = EMS22_2_CS_Pin|MotorSTBY_Pin|TMC_DIR_Pin;
  GPIO_InitStruct.Mode = GPIO_MODE_OUTPUT_PP;
  GPIO_InitStruct.Pull = GPIO_NOPULL;
  GPIO_InitStruct.Speed = GPIO_SPEED_FREQ_LOW;
  HAL_GPIO_Init(GPIOD, &GPIO_InitStruct);

  /*Configure GPIO pin : EncMotorB_Pin */
  GPIO_InitStruct.Pin = EncMotorB_Pin;
  GPIO_InitStruct.Mode = GPIO_MODE_IT_RISING_FALLING;
  GPIO_InitStruct.Pull = GPIO_PULLDOWN;
  HAL_GPIO_Init(EncMotorB_GPIO_Port, &GPIO_InitStruct);

  /*Configure GPIO pin : YellowLED_Pin */
  GPIO_InitStruct.Pin = YellowLED_Pin;
  GPIO_InitStruct.Mode = GPIO_MODE_OUTPUT_PP;
  GPIO_InitStruct.Pull = GPIO_NOPULL;
  GPIO_InitStruct.Speed = GPIO_SPEED_FREQ_LOW;
  HAL_GPIO_Init(YellowLED_GPIO_Port, &GPIO_InitStruct);

  /* EXTI interrupt init*/
  HAL_NVIC_SetPriority(EncMotorA_EXTI_IRQn, 0, 0);
  HAL_NVIC_EnableIRQ(EncMotorA_EXTI_IRQn);

  HAL_NVIC_SetPriority(BournsEncA_EXTI_IRQn, 0, 0);
  HAL_NVIC_EnableIRQ(BournsEncA_EXTI_IRQn);

  HAL_NVIC_SetPriority(BournsEncB_EXTI_IRQn, 0, 0);
  HAL_NVIC_EnableIRQ(BournsEncB_EXTI_IRQn);

}

 /* MPU Configuration */

void MPU_Config(void)
{
  MPU_Region_InitTypeDef MPU_InitStruct = {0};

  /* Disables the MPU */
  HAL_MPU_Disable();

  /** Initializes and configures the Region and the memory to be protected
  */
  MPU_InitStruct.Enable = MPU_REGION_ENABLE;
  MPU_InitStruct.Number = MPU_REGION_NUMBER0;
  MPU_InitStruct.BaseAddress = 0x0;
  MPU_InitStruct.Size = MPU_REGION_SIZE_4GB;
  MPU_InitStruct.SubRegionDisable = 0x87;
  MPU_InitStruct.TypeExtField = MPU_TEX_LEVEL0;
  MPU_InitStruct.AccessPermission = MPU_REGION_NO_ACCESS;
  MPU_InitStruct.DisableExec = MPU_INSTRUCTION_ACCESS_DISABLE;
  MPU_InitStruct.IsShareable = MPU_ACCESS_SHAREABLE;
  MPU_InitStruct.IsCacheable = MPU_ACCESS_NOT_CACHEABLE;
  MPU_InitStruct.IsBufferable = MPU_ACCESS_NOT_BUFFERABLE;

  HAL_MPU_ConfigRegion(&MPU_InitStruct);
  /* Enables the MPU */
  HAL_MPU_Enable(MPU_PRIVILEGED_DEFAULT);

}

void Error_Handler(void)
{
  __disable_irq();
  while (1)
  {
  }
}
